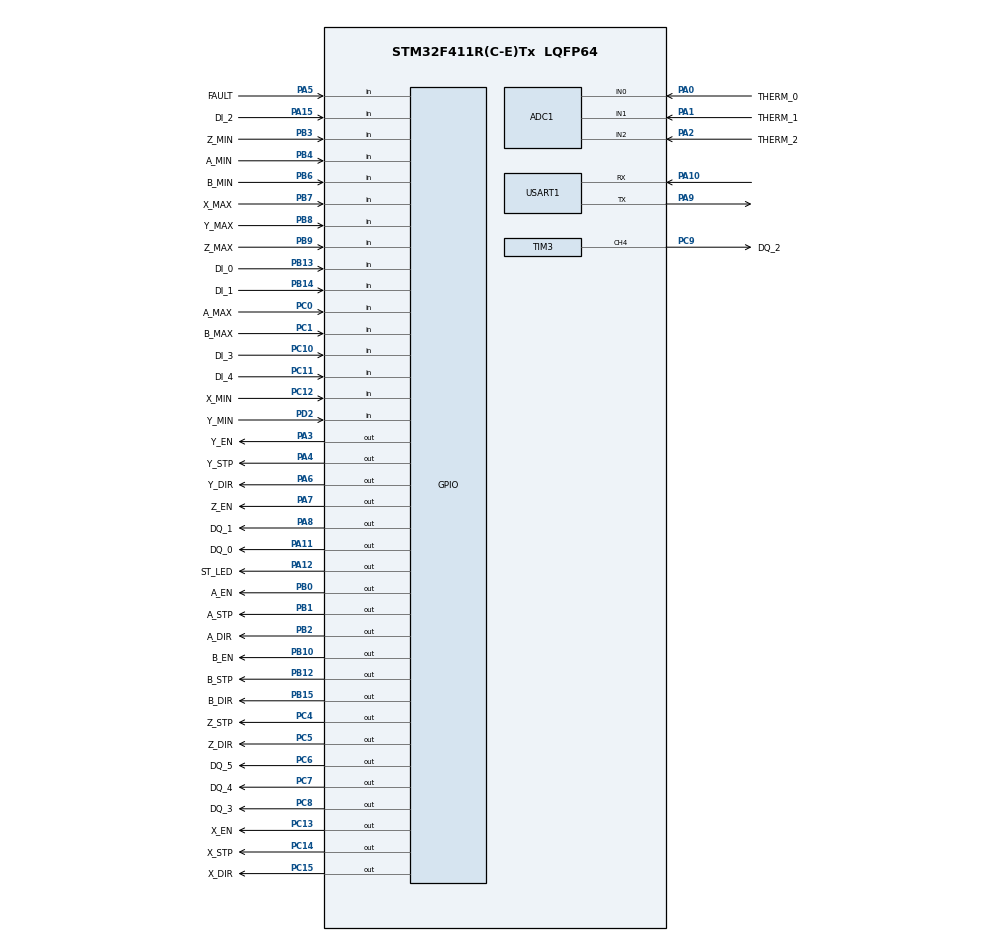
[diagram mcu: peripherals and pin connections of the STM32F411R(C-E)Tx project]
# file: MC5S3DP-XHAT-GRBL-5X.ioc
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ADC1.Channel-0\#ChannelRegularConversion=ADC_CHANNEL_0
ADC1.NbrOfConversionFlag=1
ADC1.Rank-0\#ChannelRegularConversion=1
ADC1.SamplingTime-0\#ChannelRegularConversion=ADC_SAMPLETIME_3CYCLES
ADC1.master=1
Mcu.Family=STM32F4
Mcu.Name=STM32F411R(C-E)Tx
Mcu.Package=LQFP64
NVIC.PriorityGroup=NVIC_PRIORITYGROUP_4
NVIC.TIM1_TRG_COM_TIM11_IRQn=true\:0\:0\:false\:false\:true\:true
NVIC.TIM1_UP_TIM10_IRQn=true\:0\:0\:false\:false\:true\:true
NVIC.USART1_IRQn=true\:0\:0\:false\:false\:true\:true
PA0-WKUP.GPIO_Label=THERM_0
PA0-WKUP.Signal=ADCx_IN0
PA1.GPIO_Label=THERM_1
PA1.Signal=ADCx_IN1
PA10.Mode=Asynchronous
PA10.Signal=USART1_RX
PA11.GPIO_Label=DQ_0
PA11.Signal=GPIO_Output
PA12.GPIO_Label=ST_LED
PA12.Signal=GPIO_Output
PA13.Mode=Serial_Wire
PA13.Signal=SYS_JTMS-SWDIO
PA14.Mode=Serial_Wire
PA14.Signal=SYS_JTCK-SWCLK
PA15.GPIO_Label=DI_2
PA15.GPIO_PuPd=GPIO_PULLUP
PA15.Signal=GPIO_Input
PA2.GPIO_Label=THERM_2
PA2.Signal=ADCx_IN2
PA3.GPIO_Label=Y_EN
PA3.Signal=GPIO_Output
PA4.GPIO_Label=Y_STP
PA4.Signal=GPIO_Output
PA5.GPIO_Label=FAULT
PA5.Signal=GPIO_Input
PA6.GPIO_Label=Y_DIR
PA6.Signal=GPIO_Output
PA7.GPIO_Label=Z_EN
PA7.Signal=GPIO_Output
PA8.GPIO_Label=DQ_1
PA8.Signal=GPIO_Output
PA9.Mode=Asynchronous
PA9.Signal=USART1_TX
PB0.GPIO_Label=A_EN
PB0.Signal=GPIO_Output
PB1.GPIO_Label=A_STP
PB1.Signal=GPIO_Output
PB10.GPIO_Label=B_EN
PB10.Signal=GPIO_Output
PB12.GPIO_Label=B_STP
PB12.Signal=GPIO_Output
PB13.GPIO_Label=DI_0
PB13.GPIO_PuPd=GPIO_PULLUP
PB13.Signal=GPIO_Input
PB14.GPIO_Label=DI_1
PB14.GPIO_PuPd=GPIO_PULLUP
PB14.Signal=GPIO_Input
PB15.GPIO_Label=B_DIR
PB15.Signal=GPIO_Output
PB2.GPIO_Label=A_DIR
PB2.Signal=GPIO_Output
PB3.GPIO_Label=Z_MIN
PB3.GPIO_PuPd=GPIO_PULLUP
PB3.Signal=GPIO_Input
PB4.GPIO_Label=A_MIN
PB4.GPIO_PuPd=GPIO_PULLUP
PB4.Signal=GPIO_Input
PB6.GPIO_Label=B_MIN
PB6.GPIO_PuPd=GPIO_PULLUP
PB6.Signal=GPIO_Input
PB7.GPIO_Label=X_MAX
PB7.GPIO_PuPd=GPIO_PULLUP
PB7.Signal=GPIO_Input
PB8.GPIO_Label=Y_MAX
PB8.GPIO_PuPd=GPIO_PULLUP
PB8.Signal=GPIO_Input
PB9.GPIO_Label=Z_MAX
PB9.GPIO_PuPd=GPIO_PULLUP
PB9.Signal=GPIO_Input
PC0.GPIO_Label=A_MAX
PC0.GPIO_PuPd=GPIO_PULLUP
PC0.Signal=GPIO_Input
PC1.GPIO_Label=B_MAX
PC1.GPIO_PuPd=GPIO_PULLUP
PC1.Signal=GPIO_Input
PC10.GPIO_Label=DI_3
PC10.GPIO_PuPd=GPIO_PULLUP
PC10.Signal=GPIO_Input
PC11.GPIO_Label=DI_4
PC11.GPIO_PuPd=GPIO_PULLUP
PC11.Signal=GPIO_Input
PC12.GPIO_Label=X_MIN
PC12.GPIO_PuPd=GPIO_PULLUP
PC12.Signal=GPIO_Input
PC13-ANTI_TAMP.GPIO_Label=X_EN
PC13-ANTI_TAMP.Signal=GPIO_Output
PC14-OSC32_IN.GPIO_Label=X_STP
PC14-OSC32_IN.Signal=GPIO_Output
PC15-OSC32_OUT.GPIO_Label=X_DIR
PC15-OSC32_OUT.Signal=GPIO_Output
PC4.GPIO_Label=Z_STP
PC4.Signal=GPIO_Output
PC5.GPIO_Label=Z_DIR
PC5.Signal=GPIO_Output
PC6.GPIO_Label=DQ_5
PC6.Signal=GPIO_Output
PC7.GPIO_Label=DQ_4
PC7.Signal=GPIO_Output
PC8.GPIO_Label=DQ_3
PC8.Signal=GPIO_Output
PC9.GPIO_Label=DQ_2
PC9.Signal=S_TIM3_CH4
PD2.GPIO_Label=Y_MIN
PD2.GPIO_PuPd=GPIO_PULLUP
PD2.Signal=GPIO_Input
PH0\ -\ OSC_IN.Mode=HSE-External-Oscillator
PH0\ -\ OSC_IN.Signal=RCC_OSC_IN
PH1\ -\ OSC_OUT.Mode=HSE-External-Oscillator
PH1\ -\ OSC_OUT.Signal=RCC_OSC_OUT
ProjectManager.HeapSize=0x200
ProjectManager.StackSize=0x400
ProjectManager.TargetToolchain=SW4STM32
RCC.48MHZClocksFreq_Value=50000000
RCC.AHBFreq_Value=100000000
RCC.APB1CLKDivider=RCC_HCLK_DIV2
RCC.APB1Freq_Value=50000000
RCC.APB1TimFreq_Value=100000000
RCC.APB2Freq_Value=100000000
RCC.APB2TimFreq_Value=100000000
RCC.CortexFreq_Value=100000000
RCC.HCLKFreq_Value=100000000
RCC.HSE_VALUE=25000000
RCC.HSI_VALUE=16000000
RCC.LSE_VALUE=32768
RCC.PLLM=25
RCC.PLLN=200
RCC.PLLSourceVirtual=RCC_PLLSOURCE_HSE
RCC.SYSCLKFreq_VALUE=100000000
RCC.SYSCLKSource=RCC_SYSCLKSOURCE_PLLCLK
RCC.VCOOutputFreq_Value=200000000
SH.ADCx_IN0.0=ADC1_IN0,IN0
SH.ADCx_IN1.0=ADC1_IN1,IN1
SH.ADCx_IN2.0=ADC1_IN2,IN2
SH.S_TIM3_CH4.0=TIM3_CH4,PWM Generation4 CH4
TIM11.Period=0
TIM11.Prescaler=23
TIM3.Channel-PWM\ Generation4\ CH4=TIM_CHANNEL_4
TIM3.Period=4095
USART1.VirtualMode=VM_ASYNC
VP_TIM10_VS_ClockSourceINT.Mode=Enable_Timer
VP_TIM11_VS_ClockSourceINT.Mode=Enable_Timer
board=custom

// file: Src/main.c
/**
  ******************************************************************************
  * @file           : main.c
  * @brief          : Main program body
  ******************************************************************************
  ** This notice applies to any and all portions of this file
  * that are not between comment pairs USER CODE BEGIN and
  * USER CODE END. Other portions of this file, whether
  * inserted by the user or by software development tools
  * are owned by their respective copyright owners.
  *
  * COPYRIGHT(c) 2018 STMicroelectronics
  *
  * Redistribution and use in source and binary forms, with or without modification,
  * are permitted provided that the following conditions are met:
  *   1. Redistributions of source code must retain the above copyright notice,
  *      this list of conditions and the following disclaimer.
  *   2. Redistributions in binary form must reproduce the above copyright notice,
  *      this list of conditions and the following disclaimer in the documentation
  *      and/or other materials provided with the distribution.
  *   3. Neither the name of STMicroelectronics nor the names of its contributors
  *      may be used to endorse or promote products derived from this software
  *      without specific prior written permission.
  *
  * THIS SOFTWARE IS PROVIDED BY THE COPYRIGHT HOLDERS AND CONTRIBUTORS "AS IS"
  * AND ANY EXPRESS OR IMPLIED WARRANTIES, INCLUDING, BUT NOT LIMITED TO, THE
  * IMPLIED WARRANTIES OF MERCHANTABILITY AND FITNESS FOR A PARTICULAR PURPOSE ARE
  * DISCLAIMED. IN NO EVENT SHALL THE COPYRIGHT HOLDER OR CONTRIBUTORS BE LIABLE
  * FOR ANY DIRECT, INDIRECT, INCIDENTAL, SPECIAL, EXEMPLARY, OR CONSEQUENTIAL
  * DAMAGES (INCLUDING, BUT NOT LIMITED TO, PROCUREMENT OF SUBSTITUTE GOODS OR
  * SERVICES; LOSS OF USE, DATA, OR PROFITS; OR BUSINESS INTERRUPTION) HOWEVER
  * CAUSED AND ON ANY THEORY OF LIABILITY, WHETHER IN CONTRACT, STRICT LIABILITY,
  * OR TORT (INCLUDING NEGLIGENCE OR OTHERWISE) ARISING IN ANY WAY OUT OF THE USE
  * OF THIS SOFTWARE, EVEN IF ADVISED OF THE POSSIBILITY OF SUCH DAMAGE.
  *
  ******************************************************************************
  */
#include "main.h"

/* USER CODE BEGIN Includes */
#include "grbl.h"

/* USER CODE END Includes */

/* USER CODE BEGIN PV */
/* Private variables ---------------------------------------------------------*/

/* USER CODE END PV */

static void LL_Init(void);
void SystemClock_Config(void);
static void MX_GPIO_Init(void);
void MX_ADC1_Init(void);
void MX_USART1_UART_Init(void);
void MX_TIM3_Init(void);
static void MX_TIM10_Init(void);
static void MX_TIM11_Init(void);

/* USER CODE BEGIN PFP */
/* Private function prototypes -----------------------------------------------*/

/* USER CODE END PFP */

/* USER CODE BEGIN 0 */

// Declare system global variable structure
system_t sys;
int32_t sys_position[N_AXIS];      // Real-time machine (aka home) position vector in steps.
int32_t sys_probe_position[N_AXIS]; // Last probe position in machine coordinates and steps.
volatile uint8_t sys_probe_state;   // Probing state value.  Used to coordinate the probing cycle with stepper ISR.
volatile uint8_t sys_rt_exec_state;   // Global realtime executor bitflag variable for state management. See EXEC bitmasks.
volatile uint8_t sys_rt_exec_alarm;   // Global realtime executor bitflag variable for setting various alarms.
volatile uint8_t sys_rt_exec_motion_override; // Global realtime executor bitflag variable for motion-based overrides.
volatile uint8_t sys_rt_exec_accessory_override; // Global realtime executor bitflag variable for spindle/coolant overrides.
#ifdef DEBUG
  volatile uint8_t sys_rt_exec_debug;
#endif

/* USER CODE END 0 */

int main(void)
{

  /* MCU Configuration----------------------------------------------------------*/

  /* Reset of all peripherals, Initializes the Flash interface and the Systick. */
  LL_Init();

  /* Configure the system clock */
  SystemClock_Config();

  /* Initialize all configured peripherals */
  MX_GPIO_Init();
  MX_ADC1_Init();
  MX_USART1_UART_Init();
  MX_TIM3_Init();
  MX_TIM10_Init();
  MX_TIM11_Init();
  /* USER CODE BEGIN 2 */
  EE_Init();

  // Initialize system upon power-up.
  serial_init();   // Setup serial baud rate and interrupts
  settings_init(); // Load Grbl settings from EEPROM
  stepper_init();  // Configure stepper pins and interrupt timers
  system_init();   // Configure pinout pins and pin-change interrupt

  memset(sys_position,0,sizeof(sys_position)); // Clear machine position.
//  sei(); // Enable interrupts

  // Initialize system state.
  #ifdef FORCE_INITIALIZATION_ALARM
    // Force Grbl into an ALARM state upon a power-cycle or hard reset.
    sys.state = STATE_ALARM;
  #else
    sys.state = STATE_IDLE;
  #endif

  // Check for power-up and set system alarm if homing is enabled to force homing cycle
  // by setting Grbl's alarm state. Alarm locks out all g-code commands, including the
  // startup scripts, but allows access to settings and internal commands. Only a homing
  // cycle '$H' or kill alarm locks '$X' will disable the alarm.
  // NOTE: The startup script will run after successful completion of the homing cycle, but
  // not after disabling the alarm locks. Prevents motion startup blocks from crashing into
  // things uncontrollably. Very bad.
  #ifdef HOMING_INIT_LOCK
    if (bit_istrue(settings.flags,BITFLAG_HOMING_ENABLE)) { sys.state = STATE_ALARM; }
  #endif

  /* USER CODE END 2 */

  /* Infinite loop */
  /* USER CODE BEGIN WHILE */
  // Grbl initialization loop upon power-up or a system abort. For the latter, all processes
  // will return to this loop to be cleanly re-initialized.
  for(;;) {
  /* USER CODE END WHILE */

  /* USER CODE BEGIN 3 */
    // Reset system variables.
    uint8_t prior_state = sys.state;
    memset(&sys, 0, sizeof(system_t)); // Clear system struct variable.
    sys.state = prior_state;
    sys.f_override = DEFAULT_FEED_OVERRIDE;  // Set to 100%
    sys.r_override = DEFAULT_RAPID_OVERRIDE; // Set to 100%
    sys.spindle_speed_ovr = DEFAULT_SPINDLE_SPEED_OVERRIDE; // Set to 100%
    memset(sys_probe_position,0,sizeof(sys_probe_position)); // Clear probe position.
    sys_probe_state = 0;
    sys_rt_exec_state = 0;
    sys_rt_exec_alarm = 0;
    sys_rt_exec_motion_override = 0;
    sys_rt_exec_accessory_override = 0;

    // Reset Grbl primary systems.
    serial_reset_read_buffer(); // Clear serial read buffer
    gc_init(); // Set g-code parser to default state
    spindle_init();
    coolant_init();
    limits_init();
    probe_init();
    sleep_init();
    plan_reset(); // Clear block buffer and planner variables
    st_reset(); // Clear stepper subsystem variables.

    // Sync cleared gcode and planner positions to current system position.
    plan_sync_position();
    gc_sync_position();

    // Print welcome message. Indicates an initialization has occured at power-up or with a reset.
    report_init_message();

    // Start Grbl main loop. Processes program inputs and executes them.
    protocol_main_loop();

  }
  /* USER CODE END 3 */

}
static void LL_Init(void)
{

  LL_APB2_GRP1_EnableClock(LL_APB2_GRP1_PERIPH_SYSCFG);
  LL_APB1_GRP1_EnableClock(LL_APB1_GRP1_PERIPH_PWR);

  NVIC_SetPriorityGrouping(NVIC_PRIORITYGROUP_4);

  /* System interrupt init*/
  /* MemoryManagement_IRQn interrupt configuration */
  NVIC_SetPriority(MemoryManagement_IRQn, NVIC_EncodePriority(NVIC_GetPriorityGrouping(),0, 0));
  /* BusFault_IRQn interrupt configuration */
  NVIC_SetPriority(BusFault_IRQn, NVIC_EncodePriority(NVIC_GetPriorityGrouping(),0, 0));
  /* UsageFault_IRQn interrupt configuration */
  NVIC_SetPriority(UsageFault_IRQn, NVIC_EncodePriority(NVIC_GetPriorityGrouping(),0, 0));
  /* SVCall_IRQn interrupt configuration */
  NVIC_SetPriority(SVCall_IRQn, NVIC_EncodePriority(NVIC_GetPriorityGrouping(),0, 0));
  /* DebugMonitor_IRQn interrupt configuration */
  NVIC_SetPriority(DebugMonitor_IRQn, NVIC_EncodePriority(NVIC_GetPriorityGrouping(),0, 0));
  /* PendSV_IRQn interrupt configuration */
  NVIC_SetPriority(PendSV_IRQn, NVIC_EncodePriority(NVIC_GetPriorityGrouping(),0, 0));
  /* SysTick_IRQn interrupt configuration */
  NVIC_SetPriority(SysTick_IRQn, NVIC_EncodePriority(NVIC_GetPriorityGrouping(),0, 0));

}

void SystemClock_Config(void)
{

  LL_FLASH_SetLatency(LL_FLASH_LATENCY_3);

  if(LL_FLASH_GetLatency() != LL_FLASH_LATENCY_3)
  {
  Error_Handler();
  }
  LL_PWR_SetRegulVoltageScaling(LL_PWR_REGU_VOLTAGE_SCALE1);

  LL_RCC_HSE_Enable();

   /* Wait till HSE is ready */
  while(LL_RCC_HSE_IsReady() != 1)
  {

  }
  LL_RCC_PLL_ConfigDomain_SYS(LL_RCC_PLLSOURCE_HSE, LL_RCC_PLLM_DIV_25, 200, LL_RCC_PLLP_DIV_2);

  LL_RCC_PLL_Enable();

   /* Wait till PLL is ready */
  while(LL_RCC_PLL_IsReady() != 1)
  {

  }
  LL_RCC_SetAHBPrescaler(LL_RCC_SYSCLK_DIV_1);

  LL_RCC_SetAPB1Prescaler(LL_RCC_APB1_DIV_2);

  LL_RCC_SetAPB2Prescaler(LL_RCC_APB2_DIV_1);

  LL_RCC_SetSysClkSource(LL_RCC_SYS_CLKSOURCE_PLL);

   /* Wait till System clock is ready */
  while(LL_RCC_GetSysClkSource() != LL_RCC_SYS_CLKSOURCE_STATUS_PLL)
  {

  }
  LL_Init1msTick(100000000);

  LL_SYSTICK_SetClkSource(LL_SYSTICK_CLKSOURCE_HCLK);

  LL_SetSystemCoreClock(100000000);

  LL_RCC_SetTIMPrescaler(LL_RCC_TIM_PRESCALER_TWICE);

  /* SysTick_IRQn interrupt configuration */
  NVIC_SetPriority(SysTick_IRQn, NVIC_EncodePriority(NVIC_GetPriorityGrouping(),0, 0));
}

/* ADC1 init function */
void MX_ADC1_Init(void)
{

  LL_ADC_InitTypeDef ADC_InitStruct;
  LL_ADC_REG_InitTypeDef ADC_REG_InitStruct;
  LL_ADC_CommonInitTypeDef ADC_CommonInitStruct;

  LL_GPIO_InitTypeDef GPIO_InitStruct;

  /* Peripheral clock enable */
  LL_APB2_GRP1_EnableClock(LL_APB2_GRP1_PERIPH_ADC1);

  /**ADC1 GPIO Configuration
  PA0-WKUP   ------> ADC1_IN0
  PA1   ------> ADC1_IN1
  PA2   ------> ADC1_IN2
  */
  GPIO_InitStruct.Pin = THERM_0_Pin|THERM_1_Pin|THERM_2_Pin;
  GPIO_InitStruct.Mode = LL_GPIO_MODE_ANALOG;
  GPIO_InitStruct.Pull = LL_GPIO_PULL_NO;
  LL_GPIO_Init(GPIOA, &GPIO_InitStruct);

    /**Common config
    */
  ADC_InitStruct.Resolution = LL_ADC_RESOLUTION_12B;
  ADC_InitStruct.DataAlignment = LL_ADC_DATA_ALIGN_RIGHT;
  ADC_InitStruct.SequencersScanMode = LL_ADC_SEQ_SCAN_DISABLE;
  LL_ADC_Init(ADC1, &ADC_InitStruct);

  ADC_REG_InitStruct.TriggerSource = LL_ADC_REG_TRIG_SOFTWARE;
  ADC_REG_InitStruct.SequencerLength = LL_ADC_REG_SEQ_SCAN_DISABLE;
  ADC_REG_InitStruct.SequencerDiscont = LL_ADC_REG_SEQ_DISCONT_DISABLE;
  ADC_REG_InitStruct.ContinuousMode = LL_ADC_REG_CONV_SINGLE;
  ADC_REG_InitStruct.DMATransfer = LL_ADC_REG_DMA_TRANSFER_LIMITED;
  LL_ADC_REG_Init(ADC1, &ADC_REG_InitStruct);

  LL_ADC_REG_SetFlagEndOfConversion(ADC1, LL_ADC_REG_FLAG_EOC_UNITARY_CONV);

  LL_ADC_DisableIT_EOCS(ADC1);

  ADC_CommonInitStruct.CommonClock = LL_ADC_CLOCK_SYNC_PCLK_DIV4;
  LL_ADC_CommonInit(__LL_ADC_COMMON_INSTANCE(ADC1), &ADC_CommonInitStruct);

    /**Configure Regular Channel
    */
  LL_ADC_REG_SetSequencerRanks(ADC1, LL_ADC_REG_RANK_1, LL_ADC_CHANNEL_0);

  LL_ADC_SetChannelSamplingTime(ADC1, LL_ADC_CHANNEL_0, LL_ADC_SAMPLINGTIME_3CYCLES);

}

/* TIM3 init function */
void MX_TIM3_Init(void)
{

  LL_TIM_InitTypeDef TIM_InitStruct;
  LL_TIM_OC_InitTypeDef TIM_OC_InitStruct;

  LL_GPIO_InitTypeDef GPIO_InitStruct;

  /* Peripheral clock enable */
  LL_APB1_GRP1_EnableClock(LL_APB1_GRP1_PERIPH_TIM3);

  TIM_InitStruct.Prescaler = 0;
  TIM_InitStruct.CounterMode = LL_TIM_COUNTERMODE_UP;
  TIM_InitStruct.Autoreload = 4095;
  TIM_InitStruct.ClockDivision = LL_TIM_CLOCKDIVISION_DIV1;
  LL_TIM_Init(TIM3, &TIM_InitStruct);

  LL_TIM_OC_EnablePreload(TIM3, LL_TIM_CHANNEL_CH4);

  TIM_OC_InitStruct.OCMode = LL_TIM_OCMODE_PWM1;
  TIM_OC_InitStruct.OCState = LL_TIM_OCSTATE_DISABLE;
  TIM_OC_InitStruct.OCNState = LL_TIM_OCSTATE_DISABLE;
  TIM_OC_InitStruct.CompareValue = 0;
  TIM_OC_InitStruct.OCPolarity = LL_TIM_OCPOLARITY_HIGH;
  LL_TIM_OC_Init(TIM3, LL_TIM_CHANNEL_CH4, &TIM_OC_InitStruct);

  LL_TIM_OC_DisableFast(TIM3, LL_TIM_CHANNEL_CH4);

  LL_TIM_SetTriggerOutput(TIM3, LL_TIM_TRGO_RESET);

  LL_TIM_DisableMasterSlaveMode(TIM3);

  /**TIM3 GPIO Configuration
  PC9   ------> TIM3_CH4
  */
  GPIO_InitStruct.Pin = DQ_2_Pin;
  GPIO_InitStruct.Mode = LL_GPIO_MODE_ALTERNATE;
  GPIO_InitStruct.Speed = LL_GPIO_SPEED_FREQ_LOW;
  GPIO_InitStruct.OutputType = LL_GPIO_OUTPUT_PUSHPULL;
  GPIO_InitStruct.Pull = LL_GPIO_PULL_NO;
  GPIO_InitStruct.Alternate = LL_GPIO_AF_2;
  LL_GPIO_Init(DQ_2_GPIO_Port, &GPIO_InitStruct);

}

/* TIM10 init function */
static void MX_TIM10_Init(void)
{

  LL_TIM_InitTypeDef TIM_InitStruct;

  /* Peripheral clock enable */
  LL_APB2_GRP1_EnableClock(LL_APB2_GRP1_PERIPH_TIM10);

  /* TIM10 interrupt Init */
  NVIC_SetPriority(TIM1_UP_TIM10_IRQn, NVIC_EncodePriority(NVIC_GetPriorityGrouping(),0, 0));
  NVIC_EnableIRQ(TIM1_UP_TIM10_IRQn);

  TIM_InitStruct.Prescaler = 0;
  TIM_InitStruct.CounterMode = LL_TIM_COUNTERMODE_UP;
  TIM_InitStruct.Autoreload = 0;
  TIM_InitStruct.ClockDivision = LL_TIM_CLOCKDIVISION_DIV1;
  LL_TIM_Init(TIM10, &TIM_InitStruct);

}

/* TIM11 init function */
static void MX_TIM11_Init(void)
{

  LL_TIM_InitTypeDef TIM_InitStruct;

  /* Peripheral clock enable */
  LL_APB2_GRP1_EnableClock(LL_APB2_GRP1_PERIPH_TIM11);

  /* TIM11 interrupt Init */
  NVIC_SetPriority(TIM1_TRG_COM_TIM11_IRQn, NVIC_EncodePriority(NVIC_GetPriorityGrouping(),0, 0));
  NVIC_EnableIRQ(TIM1_TRG_COM_TIM11_IRQn);

  TIM_InitStruct.Prescaler = 23;
  TIM_InitStruct.CounterMode = LL_TIM_COUNTERMODE_UP;
  TIM_InitStruct.Autoreload = 0;
  TIM_InitStruct.ClockDivision = LL_TIM_CLOCKDIVISION_DIV1;
  LL_TIM_Init(TIM11, &TIM_InitStruct);

}

/* USART1 init function */
void MX_USART1_UART_Init(void)
{

  LL_USART_InitTypeDef USART_InitStruct;

  LL_GPIO_InitTypeDef GPIO_InitStruct;

  /* Peripheral clock enable */
  LL_APB2_GRP1_EnableClock(LL_APB2_GRP1_PERIPH_USART1);

  /**USART1 GPIO Configuration
  PA9   ------> USART1_TX
  PA10   ------> USART1_RX
  */
  GPIO_InitStruct.Pin = LL_GPIO_PIN_9|LL_GPIO_PIN_10;
  GPIO_InitStruct.Mode = LL_GPIO_MODE_ALTERNATE;
  GPIO_InitStruct.Speed = LL_GPIO_SPEED_FREQ_VERY_HIGH;
  GPIO_InitStruct.OutputType = LL_GPIO_OUTPUT_PUSHPULL;
  GPIO_InitStruct.Pull = LL_GPIO_PULL_UP;
  GPIO_InitStruct.Alternate = LL_GPIO_AF_7;
  LL_GPIO_Init(GPIOA, &GPIO_InitStruct);

  /* USART1 interrupt Init */
  NVIC_SetPriority(USART1_IRQn, NVIC_EncodePriority(NVIC_GetPriorityGrouping(),0, 0));
  NVIC_EnableIRQ(USART1_IRQn);

  USART_InitStruct.BaudRate = 115200;
  USART_InitStruct.DataWidth = LL_USART_DATAWIDTH_8B;
  USART_InitStruct.StopBits = LL_USART_STOPBITS_1;
  USART_InitStruct.Parity = LL_USART_PARITY_NONE;
  USART_InitStruct.TransferDirection = LL_USART_DIRECTION_TX_RX;
  USART_InitStruct.HardwareFlowControl = LL_USART_HWCONTROL_NONE;
  USART_InitStruct.OverSampling = LL_USART_OVERSAMPLING_16;
  LL_USART_Init(USART1, &USART_InitStruct);

  LL_USART_ConfigAsyncMode(USART1);

  LL_USART_Enable(USART1);

}

/** Configure pins as
        * Analog
        * Input
        * Output
        * EVENT_OUT
        * EXTI
*/
static void MX_GPIO_Init(void)
{

  LL_GPIO_InitTypeDef GPIO_InitStruct;

  /* GPIO Ports Clock Enable */
  LL_AHB1_GRP1_EnableClock(LL_AHB1_GRP1_PERIPH_GPIOC);
  LL_AHB1_GRP1_EnableClock(LL_AHB1_GRP1_PERIPH_GPIOH);
  LL_AHB1_GRP1_EnableClock(LL_AHB1_GRP1_PERIPH_GPIOA);
  LL_AHB1_GRP1_EnableClock(LL_AHB1_GRP1_PERIPH_GPIOB);
  LL_AHB1_GRP1_EnableClock(LL_AHB1_GRP1_PERIPH_GPIOD);

  /**/
  LL_GPIO_ResetOutputPin(GPIOC, X_EN_Pin|X_STP_Pin|X_DIR_Pin|Z_STP_Pin
                          |Z_DIR_Pin|DQ_5_Pin|DQ_4_Pin|DQ_3_Pin);

  /**/
  LL_GPIO_ResetOutputPin(GPIOA, Y_EN_Pin|Y_STP_Pin|Y_DIR_Pin|Z_EN_Pin
                          |DQ_1_Pin|DQ_0_Pin|ST_LED_Pin);

  /**/
  LL_GPIO_ResetOutputPin(GPIOB, A_EN_Pin|A_STP_Pin|A_DIR_Pin|B_EN_Pin
                          |B_STP_Pin|B_DIR_Pin);

  /**/
  GPIO_InitStruct.Pin = X_EN_Pin|X_STP_Pin|X_DIR_Pin|Z_STP_Pin
                          |Z_DIR_Pin|DQ_5_Pin|DQ_4_Pin|DQ_3_Pin;
  GPIO_InitStruct.Mode = LL_GPIO_MODE_OUTPUT;
  GPIO_InitStruct.Speed = LL_GPIO_SPEED_FREQ_LOW;
  GPIO_InitStruct.OutputType = LL_GPIO_OUTPUT_PUSHPULL;
  GPIO_InitStruct.Pull = LL_GPIO_PULL_NO;
  LL_GPIO_Init(GPIOC, &GPIO_InitStruct);

  /**/
  GPIO_InitStruct.Pin = A_MAX_Pin|B_MAX_Pin|DI_3_Pin|DI_4_Pin
                          |X_MIN_Pin;
  GPIO_InitStruct.Mode = LL_GPIO_MODE_INPUT;
  GPIO_InitStruct.Pull = LL_GPIO_PULL_UP;
  LL_GPIO_Init(GPIOC, &GPIO_InitStruct);

  /**/
  GPIO_InitStruct.Pin = Y_EN_Pin|Y_STP_Pin|Y_DIR_Pin|Z_EN_Pin
                          |DQ_1_Pin|DQ_0_Pin|ST_LED_Pin;
  GPIO_InitStruct.Mode = LL_GPIO_MODE_OUTPUT;
  GPIO_InitStruct.Speed = LL_GPIO_SPEED_FREQ_LOW;
  GPIO_InitStruct.OutputType = LL_GPIO_OUTPUT_PUSHPULL;
  GPIO_InitStruct.Pull = LL_GPIO_PULL_NO;
  LL_GPIO_Init(GPIOA, &GPIO_InitStruct);

  /**/
  GPIO_InitStruct.Pin = FAULT_Pin;
  GPIO_InitStruct.Mode = LL_GPIO_MODE_INPUT;
  GPIO_InitStruct.Pull = LL_GPIO_PULL_NO;
  LL_GPIO_Init(FAULT_GPIO_Port, &GPIO_InitStruct);

  /**/
  GPIO_InitStruct.Pin = A_EN_Pin|A_STP_Pin|A_DIR_Pin|B_EN_Pin
                          |B_STP_Pin|B_DIR_Pin;
  GPIO_InitStruct.Mode = LL_GPIO_MODE_OUTPUT;
  GPIO_InitStruct.Speed = LL_GPIO_SPEED_FREQ_LOW;
  GPIO_InitStruct.OutputType = LL_GPIO_OUTPUT_PUSHPULL;
  GPIO_InitStruct.Pull = LL_GPIO_PULL_NO;
  LL_GPIO_Init(GPIOB, &GPIO_InitStruct);

  /**/
  GPIO_InitStruct.Pin = DI_0_Pin|DI_1_Pin|Z_MIN_Pin|A_MIN_Pin
                          |B_MIN_Pin|X_MAX_Pin|Y_MAX_Pin|Z_MAX_Pin;
  GPIO_InitStruct.Mode = LL_GPIO_MODE_INPUT;
  GPIO_InitStruct.Pull = LL_GPIO_PULL_UP;
  LL_GPIO_Init(GPIOB, &GPIO_InitStruct);

  /**/
  GPIO_InitStruct.Pin = DI_2_Pin;
  GPIO_InitStruct.Mode = LL_GPIO_MODE_INPUT;
  GPIO_InitStruct.Pull = LL_GPIO_PULL_UP;
  LL_GPIO_Init(DI_2_GPIO_Port, &GPIO_InitStruct);

  /**/
  GPIO_InitStruct.Pin = Y_MIN_Pin;
  GPIO_InitStruct.Mode = LL_GPIO_MODE_INPUT;
  GPIO_InitStruct.Pull = LL_GPIO_PULL_UP;
  LL_GPIO_Init(Y_MIN_GPIO_Port, &GPIO_InitStruct);

}

void _Error_Handler(char *file, int line)
{
  while(1)
  {
  }
}

/************************ (C) COPYRIGHT STMicroelectronics *****END OF FILE****/
